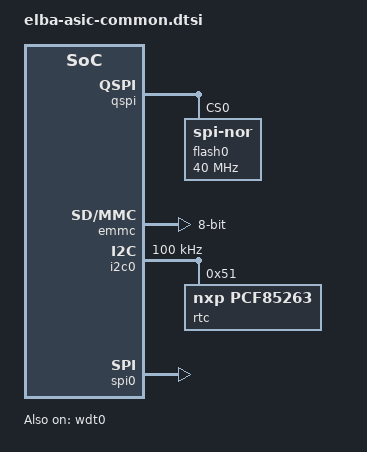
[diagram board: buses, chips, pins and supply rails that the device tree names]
// SPDX-License-Identifier: (GPL-2.0-only OR BSD-2-Clause)
/*
 * Copyright 2020-2022 Advanced Micro Devices, Inc.
 */

&ahb_clk {
	clock-frequency = <400000000>;
};

&emmc_clk {
	clock-frequency = <200000000>;
};

&flash_clk {
	clock-frequency = <400000000>;
};

&ref_clk {
	clock-frequency = <156250000>;
};

&qspi {
	status = "okay";

	flash0: flash@0 {
		compatible = "jedec,spi-nor";
		reg = <0>;
		spi-max-frequency = <40000000>;
		spi-rx-bus-width = <2>;
		m25p,fast-read;
		cdns,read-delay = <0>;
		cdns,tshsl-ns = <0>;
		cdns,tsd2d-ns = <0>;
		cdns,tchsh-ns = <0>;
		cdns,tslch-ns = <0>;
	};
};

&gpio0 {
	status = "okay";
};

&emmc {
	bus-width = <8>;
	cap-mmc-hw-reset;
	status = "okay";
};

&wdt0 {
	status = "okay";
};

&i2c0 {
	clock-frequency = <100000>;
	status = "okay";

	rtc@51 {
		compatible = "nxp,pcf85263";
		reg = <0x51>;
	};
};

&spi0 {
	#address-cells = <1>;
	#size-cells = <0>;
	num-cs = <4>;
	cs-gpios = <0>, <0>, <&porta 1 GPIO_ACTIVE_LOW>,
		   <&porta 7 GPIO_ACTIVE_LOW>;
	status = "okay";
};
